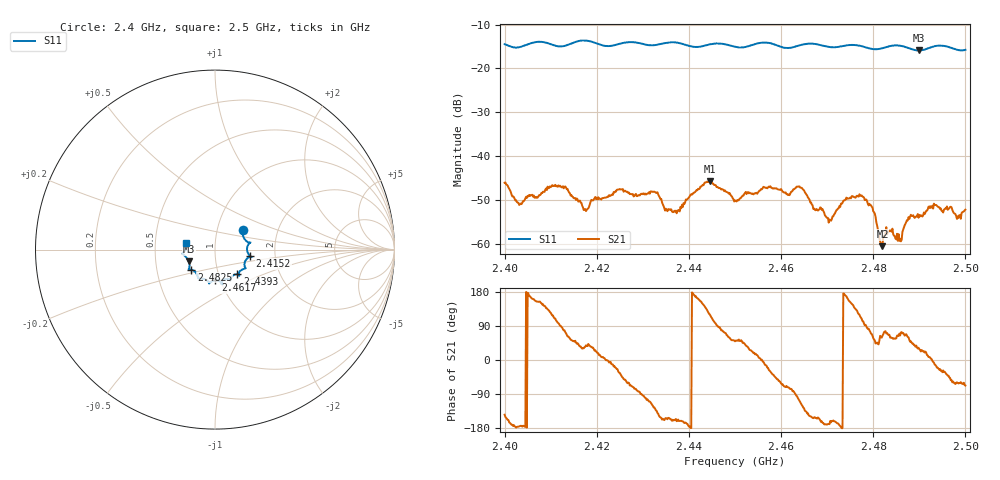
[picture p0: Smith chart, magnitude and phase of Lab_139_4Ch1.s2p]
# Hz S RI R 50
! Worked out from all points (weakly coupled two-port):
!   601 points, 2.4 GHz to 2.5 GHz, reference 50 ohm
!   highest |S21| = -45.70 dB at 2.4445 GHz (marker M1); lowest = -60.6 dB at 2.482 GHz (marker M2)
!   lowest |S11| = -15.9 dB at 2.4898 GHz (marker M3), VSWR 1.38, Z = 36.9 - j4.93 ohm
!   |S11| at or under -10 dB: start of sweep to end of sweep
!   S12 and S22 are empty: the file has one direction only
!   S11 on the Smith chart (normalised r, x): 2.4 GHz: 1.33, +0.30; 2.4152 GHz: 1.48, -0.11; 2.4393 GHz: 1.23, -0.35; 2.4617 GHz: 0.95, -0.33; 2.4825 GHz: 0.75, -0.17; 2.5 GHz: 0.72, +0.05
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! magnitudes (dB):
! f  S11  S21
! 2.4 GHz  -14.5  -46.1
! 2.4032 GHz  -15.1  -51.2
! 2.4107 GHz  -14.7  -46.8
! 2.4152 GHz  -14.0  -49.6
! 2.4167 GHz  -13.6  -50.7
! 2.4333 GHz  -14.5  -48.8
! 2.4368 GHz  -14.0  -52.5
! 2.4393 GHz  -14.6  -49.9
! 2.4445 GHz  -14.5  -45.7
! 2.45 GHz  -15.0  -50.1
! 2.4617 GHz  -15.3  -48.8
! 2.4642 GHz  -14.7  -47.2
! 2.4667 GHz  -14.3  -51.1
! 2.4705 GHz  -15.1  -54.5
! 2.4775 GHz  -14.9  -49.0
! 2.48 GHz  -15.6  -52.6
! 2.482 GHz  -15.4  -60.6
! 2.4825 GHz  -15.2  -58.4
! 2.4833 GHz  -15.0  -57.2
! 2.4858 GHz  -14.8  -58.8
! 2.4898 GHz  -15.9  -54.1
! 2.5 GHz  -15.8  -52.2
